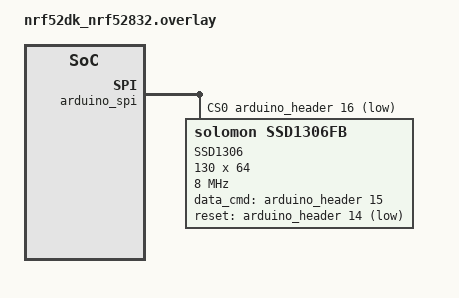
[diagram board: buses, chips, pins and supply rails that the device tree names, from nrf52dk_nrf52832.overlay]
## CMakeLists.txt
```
cmake_minimum_required(VERSION 3.20.0)
find_package(Zephyr REQUIRED HINTS $ENV{ZEPHYR_BASE})

project(SPI_OLED)

target_sources(app PRIVATE src/main.c)
```

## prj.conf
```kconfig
# Enable GPIO support
CONFIG_GPIO=y

# Memory and Stack Configuration
CONFIG_HEAP_MEM_POOL_SIZE=16384
CONFIG_MAIN_STACK_SIZE=4096

# Debugging and Assertions
CONFIG_DEBUG_OPTIMIZATIONS=y
CONFIG_ASSERT=y

# Enable SPI support
CONFIG_SPI=y

# Display Configuration
CONFIG_DISPLAY=y
CONFIG_DISPLAY_LOG_LEVEL_DBG=y

# Enable Logging
CONFIG_LOG=y

# SSD1306 OLED Display Driver
CONFIG_SSD1306=y
CONFIG_SSD1306_SH1106_COMPATIBLE=y
CONFIG_SSD1306_DEFAULT_CONTRAST=128

# Console Configuration
CONFIG_CONSOLE=y
# Character Framebuffer
CONFIG_CHARACTER_FRAMEBUFFER=y
CONFIG_CFB_LOG_LEVEL_DBG=y
```

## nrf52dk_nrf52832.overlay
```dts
&arduino_spi {
        status = "okay";
        cs-gpios = <&arduino_header 16 GPIO_ACTIVE_LOW>; /* D10 (CS) */
        ssd1306_spi: ssd1306@0 {
                compatible = "solomon,ssd1306fb";
                reg = <0>;
                label = "SSD1306";
                spi-max-frequency = <8000000>; // SSD1306 can handle up to ~10MHz
                width = <130>;
                height = <64>;
                segment-offset = <0>;
                page-offset = <0>;
                display-offset = <0>;
                multiplex-ratio = <63>;
                segment-remap;
                com-invdir;
                prechargep = <0x22>;
                data_cmd-gpios = <&arduino_header 15 GPIO_ACTIVE_HIGH>; /* D9 (DC) */
                reset-gpios = <&arduino_header 14 GPIO_ACTIVE_LOW>; /* D8 (RESET) */
        };
};
```

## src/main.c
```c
#include <zephyr/kernel.h>
#include <zephyr/device.h>
#include <zephyr/drivers/display.h>
#include <zephyr/display/cfb.h>
#include <stdio.h>

const char *displayText = "Hello World";

void main(void)
{
    const struct device *dev = device_get_binding("SSD1306");

    if (!dev) {
        printk("OLED Display: Device not found\n");
        return;
    }

    if (display_set_pixel_format(dev, PIXEL_FORMAT_MONO10) != 0 ||
        cfb_framebuffer_init(dev) != 0) {
        printk("OLED Display: Initialization failed\n");
        return;
    }

    cfb_framebuffer_clear(dev, true);
    cfb_framebuffer_invert(dev);
    display_blanking_off(dev);

    uint8_t fontWidth, fontHeight;
    cfb_get_font_size(dev, 0, &fontWidth, &fontHeight);

    uint16_t start_x = (cfb_get_display_parameter(dev, CFB_DISPLAY_WIDTH) - strlen(displayText) * fontWidth) / 2;
    uint16_t start_y = (cfb_get_display_parameter(dev, CFB_DISPLAY_HEIGH) - fontHeight) / 2;

    if (cfb_print(dev, displayText, start_x, start_y)) {
        printk("OLED Display: Failed to print string\n");
        return;
    }

    cfb_framebuffer_finalize(dev);
}
```
